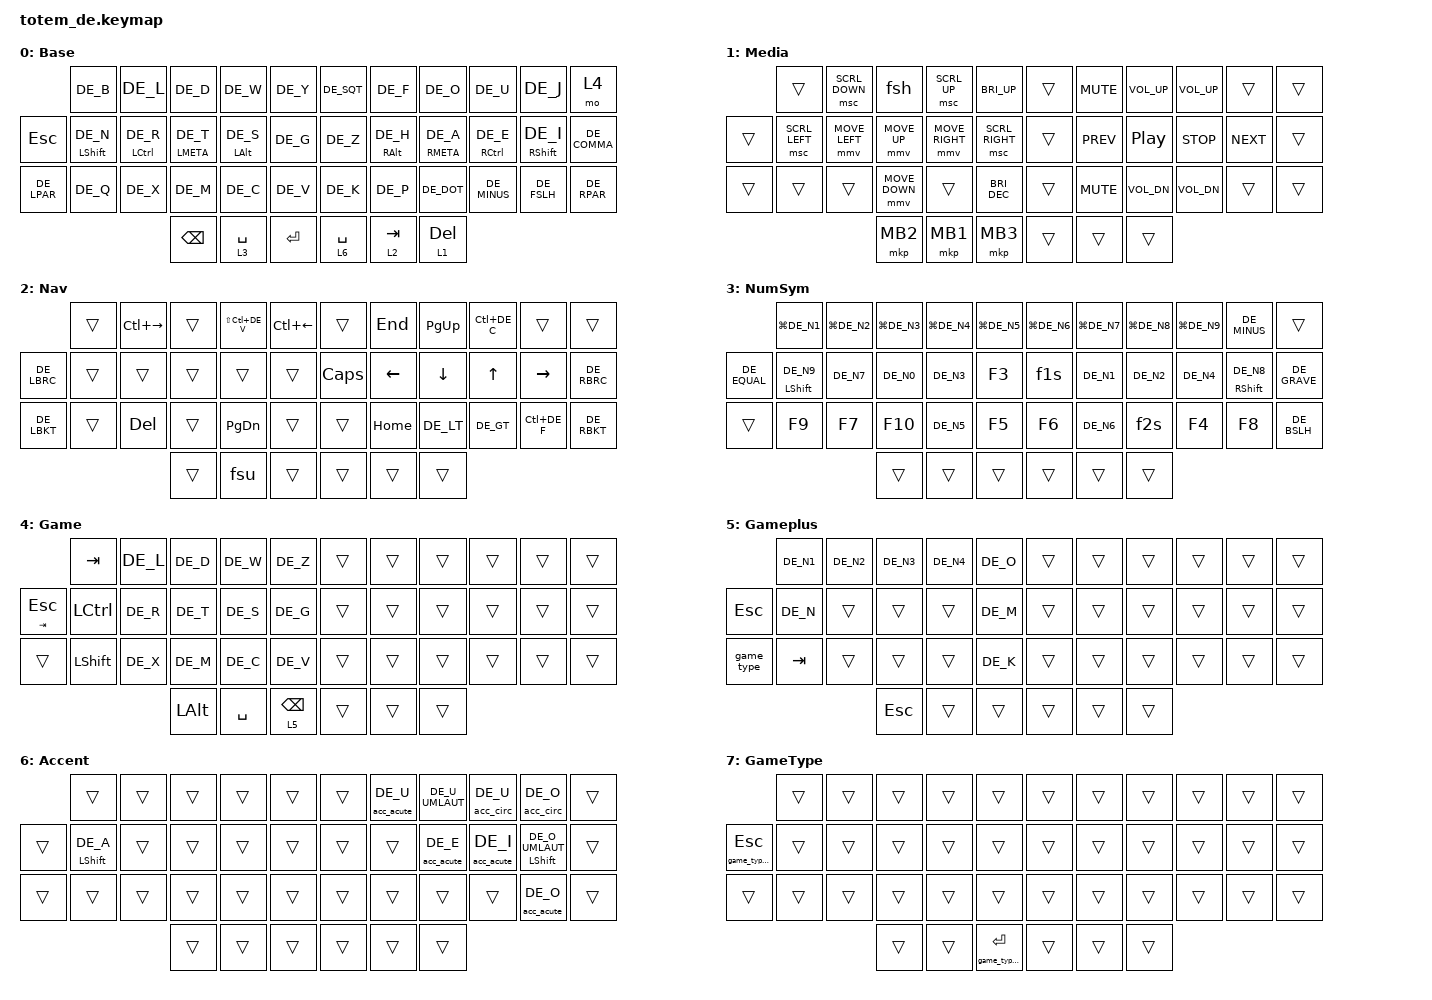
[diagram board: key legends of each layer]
//
//                                                        ▀▀▀▀▀     ▀▀▀▀▀          ▀▀█▀▀
//                                                        ▄▀▀▀▄  ▄  ▄▀▀▀▄  ▄  ▄▀▀▀▄  █  ▄▀▀▀▄
//                                                        █   █  █  █   █  █  █   █  █  █   █
//                                                         ▀▀▀   █   ▀▀▀   █   ▀▀▀   ▀   ▀▀▀
//                                                               █      ▄▄▄█▄▄▄    █   █
//                                                               ▀      █  █  █     █▄█
//                                                             ▀▀▀▀▀    █  █  █      ▀
//                                                                      ▀  ▀  ▀
//
// ▄▄▄▄▄▄▄▄▄▄▄▄▄▄▄▄▄▄▄▄▄▄▄▄▄▄▄▄▄▄▄▄▄▄▄▄▄▄▄▄▄▄▄▄▄▄▄▄▄▄▄▄▄▄▄▄▄▄▄▄▄▄▄▄▄▄▄▄▄▄▄▄▄▄▄▄▄▄▄▄▄▄▄▄▄▄▄▄▄▄▄▄▄▄▄▄▄▄▄▄▄▄▄▄▄▄▄▄▄▄▄▄▄▄▄▄▄▄▄▄▄▄▄▄▄▄▄▄▄▄▄▄▄▄▄▄▄▄▄▄▄▄▄▄▄▄▄▄▄
//
// German QWERTZ variant — use this keymap when the host OS keyboard layout is set to German.
// All keycodes use DE_* macros from keys_de.h so the OS interprets them correctly.

#include <dt-bindings/zmk/mouse.h>
#include <behaviors.dtsi>
#include <dt-bindings/zmk/keys.h>
#include <dt-bindings/zmk/pointing.h>
#include "keys_de.h"

#define Base        0
#define Media       1
#define Nav         2
#define NumSym      3
#define Game        4
#define Gameplus    5
#define Accent      6

&mt {
    quick-tap-ms = <100>;
    global-quick-tap;
    flavor = "tap-preferred";
    tapping-term-ms = <170>;
};

&lt {
    tapping-term-ms = <240>;
    flavor = "balanced";
    quick-tap-ms = <150>;
};

/ {
    behaviors {
        hm: homerow_mods {
            compatible = "zmk,behavior-hold-tap";
            label = "HOMEROW_MODS";
            #binding-cells = <2>;
            flavor = "balanced";
            tapping-term-ms = <150>;
            global-quick-tap;
            bindings = <&kp>, <&kp>;
        };

        fsu: flip_shift_underscore {
            compatible = "zmk,behavior-mod-morph";
            label = "FLIP_SHIFT_UNDERSCORE";
            bindings = <&kp DE_UNDER>, <&kp DE_MINUS>;

            #binding-cells = <0>;
            mods = <(MOD_LSFT|MOD_RSFT)>;
        };

        f1s: f1or11 {
            compatible = "zmk,behavior-mod-morph";
            label = "F1OR11";
            bindings = <&kp F1>, <&kp F11>;

            #binding-cells = <0>;
            mods = <(MOD_LSFT|MOD_RSFT)>;
        };

        f2s: f2_or_f12 {
            compatible = "zmk,behavior-mod-morph";
            label = "F2_OR_F12";
            bindings = <&kp F2>, <&kp F12>;

            #binding-cells = <0>;
            mods = <(MOD_LSFT|MOD_RSFT)>;
        };

        df: double_function {
            compatible = "zmk,behavior-hold-tap";
            label = "DOUBLE_FUNCTION";
            bindings = <&kp>, <&kp>;

            #binding-cells = <2>;
            tapping-term-ms = <150>;
        };

        hmacute: homerow_mods_accent_acute_de {
            compatible = "zmk,behavior-hold-tap";
            label = "HOMEROW_MODS_ACCENT_ACUTE_DE";
            #binding-cells = <2>;
            flavor = "balanced";
            tapping-term-ms = <150>;
            global-quick-tap;
            bindings = <&kp>, <&acc_acute>;
        };
    };

    combos {
        compatible = "zmk,combos";

        combo_capsword {
            bindings = <&caps_word>;
            key-positions = <12 21>;
            timeout-ms = <30>;
            require-prior-idle-ms = <50>;
            layers = <0>;
        };

        combo_game {
            bindings = <&tog Game>;
            key-positions = <38 39 40>;
            timeout-ms = <30>;
        };
    };

    macros {
        cps: copy_shot {
            compatible = "zmk,behavior-macro";
            #binding-cells = <0>;
            bindings = <&kp LG(DE_R) &kp DE_C>;
            label = "COPY_SHOT";
        };

        fsh: full_screen_shot {
            compatible = "zmk,behavior-macro";
            #binding-cells = <0>;
            bindings = <&kp LG(DE_R) &kp DE_F>;
            label = "FULL_SCREEN_SHOT";
        };

        acc_acute: accent_acute_de {
            compatible = "zmk,behavior-macro-one-param";
            #binding-cells = <1>;
            bindings =
                <&macro_tap>,
                <&kp DE_ACUTE &macro_param_1to1>,
                <&macro_tap>,
                <&kp MACRO_PLACEHOLDER>;
            label = "ACCENT_ACUTE_DE";
        };

        acc_circ: accent_circumflex_de {
            compatible = "zmk,behavior-macro-one-param";
            #binding-cells = <1>;
            bindings =
                <&macro_tap>,
                <&kp DE_CARET &macro_param_1to1>,
                <&macro_tap>,
                <&kp MACRO_PLACEHOLDER>;
            label = "ACCENT_CIRCUMFLEX_DE";
        };

        game_type: game_type {
            compatible = "zmk,behavior-macro";
            #binding-cells = <0>;
            bindings = <&kp ENTER &to 7>;
            label = "GAME_TYPE";
        };

        game_type_exit: game_type_exit {
            compatible = "zmk,behavior-macro-one-param";
            #binding-cells = <1>;
            bindings = <&macro_param_1to1 &kp MACRO_PLACEHOLDER &to 4>;
            label = "GAME_TYPE_EXIT";
        };
    };

    keymap {
        compatible = "zmk,keymap";

        Base {
            label = "Base";
            bindings = <
            &kp DE_B        &kp DE_L        &kp DE_D          &kp DE_W        &kp DE_Y        &kp DE_SQT      &kp DE_F       &kp DE_O         &kp DE_U        &kp DE_J        &mo 4
&kp ESCAPE  &hm LSHFT DE_N  &hm LCTRL DE_R  &hm LMETA DE_T    &hm LALT DE_S   &kp DE_G        &kp DE_Z        &hm RALT DE_H  &hm RMETA DE_A   &hm RCTRL DE_E  &hm RSHFT DE_I  &kp DE_COMMA
&kp DE_LPAR &kp DE_Q        &kp DE_X        &kp DE_M          &kp DE_C        &kp DE_V        &kp DE_K        &kp DE_P       &kp DE_DOT       &kp DE_MINUS    &kp DE_FSLH     &kp DE_RPAR
                                          &kp BACKSPACE  &lt 3 SPACE  &kp ENTER    &lt 6 SPACE  &lt 2 TAB   &lt 1 DELETE
            >;                            
        };

        Media {
            label = "Media";
            bindings = <
        &trans          &msc SCRL_DOWN  &fsh            &msc SCRL_UP     &kp C_BRI_UP       &trans  &kp C_MUTE  &kp C_VOL_UP  &kp C_VOL_UP  &trans      &trans
&trans  &msc SCRL_LEFT  &mmv MOVE_LEFT  &mmv MOVE_UP    &mmv MOVE_RIGHT  &msc SCRL_RIGHT    &trans  &kp C_PREV  &kp C_PP      &kp C_STOP    &kp C_NEXT  &trans
&trans  &trans          &trans          &mmv MOVE_DOWN  &trans           &kp C_BRI_DEC      &trans  &kp C_MUTE  &kp C_VOL_DN  &kp C_VOL_DN  &trans      &trans
                                        &mkp MB2        &mkp MB1         &mkp MB3           &trans  &trans      &trans
            >;
        };

        Nav {
            label = "Nav";
            bindings = <
          &trans  &kp LC(RIGHT)  &trans  &kp LS(LC(DE_V))  &kp LC(LEFT)    &trans    &kp END   &kp PG_UP  &kp LC(DE_C)  &trans     &trans
&kp DE_LBRC  &trans  &trans         &trans  &trans             &trans          &kp CAPS  &kp LEFT  &kp DOWN   &kp UP        &kp RIGHT  &kp DE_RBRC
&kp DE_LBKT  &trans  &kp DEL        &trans  &kp PG_DN          &trans          &trans    &kp HOME  &kp DE_LT  &kp DE_GT     &kp LC(DE_F)  &kp DE_RBKT
                                  &trans  &fsu           &trans          &trans    &trans    &trans
            >;
        };

        NumSym {
            label = "NumSym";
            bindings = <
           &kp LG(DE_N1)    &kp LG(DE_N2)  &kp LG(DE_N3)  &kp LG(DE_N4)  &kp LG(DE_N5)    &kp LG(DE_N6)  &kp LG(DE_N7)  &kp LG(DE_N8)  &kp LG(DE_N9)  &kp DE_MINUS     &trans
&kp DE_EQUAL  &hm LSHFT DE_N9  &kp DE_N7      &kp DE_N0      &kp DE_N3      &kp F3        &f1s        &kp DE_N1      &kp DE_N2      &kp DE_N4      &hm RSHFT DE_N8  &kp DE_GRAVE
&trans     &kp F9        &kp F7      &kp F10     &kp DE_N5      &kp F5        &kp F6      &kp DE_N6      &f2s        &kp F4      &kp F8        &kp DE_BSLH
                                      &trans      &trans      &trans        &trans      &trans      &trans
            >;
        };

        Game {
            label = "Game";
            bindings = <
             &kp TAB    &kp DE_L  &kp DE_D     &kp DE_W      &kp DE_Z              &trans  &trans  &trans  &trans  &trans  &trans
&df TAB ESC  &kp LCTRL  &kp DE_R  &kp DE_T     &kp DE_S      &kp DE_G              &trans  &trans  &trans  &trans  &trans  &trans
&trans       &kp LSHFT  &kp DE_X  &kp DE_M     &kp DE_C      &kp DE_V              &trans  &trans  &trans  &trans  &trans  &trans
                                &kp LALT  &kp SPACE  &lt 5 BACKSPACE    &trans  &trans  &trans
            >;
        };

        Gameplus {
            label = "Gameplus";
            bindings = <
            &kp DE_N1  &kp DE_N2  &kp DE_N3  &kp DE_N4  &kp DE_O     &trans  &trans  &trans  &trans  &trans  &trans
&kp ESC     &kp DE_N   &trans     &trans     &trans     &kp DE_M     &trans  &trans  &trans  &trans  &trans  &trans
&game_type  &kp TAB    &trans     &trans     &trans     &kp DE_K     &trans  &trans  &trans  &trans  &trans  &trans
                                &kp ESCAPE    &trans        &trans    &trans  &trans  &trans
            >;
        };

        Accent {
            label = "Accent";
            bindings = <
        &trans                    &trans  &trans  &trans  &trans    &trans  &acc_acute DE_U    &kp DE_U_UMLAUT  &acc_circ DE_U     &acc_circ DE_O               &trans
&trans  &hmacute LSHFT DE_A      &trans  &trans  &trans  &trans    &trans  &trans             &acc_acute DE_E   &acc_acute DE_I    &hm LSHFT DE_O_UMLAUT        &trans
&trans  &trans                    &trans  &trans  &trans  &trans    &trans  &trans             &trans            &trans             &acc_acute DE_O              &trans
                                  &trans  &trans  &trans    &trans  &trans             &trans
            >;
        };

        GameType {
            bindings = <
                     &trans  &trans  &trans  &trans  &trans                   &trans  &trans  &trans  &trans  &trans  &trans
&game_type_exit ESC  &trans  &trans  &trans  &trans  &trans                   &trans  &trans  &trans  &trans  &trans  &trans
&trans               &trans  &trans  &trans  &trans  &trans                   &trans  &trans  &trans  &trans  &trans  &trans
                                     &trans  &trans  &game_type_exit ENTER    &trans  &trans  &trans
            >;
        };
    };
};
